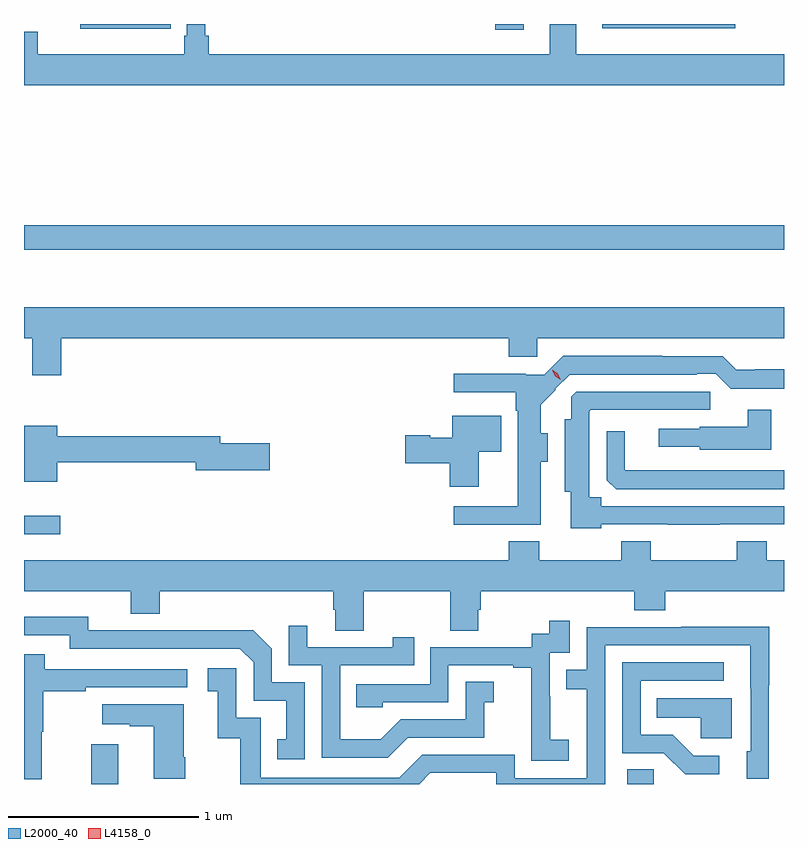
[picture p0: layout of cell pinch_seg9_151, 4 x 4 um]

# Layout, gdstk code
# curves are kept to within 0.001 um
import gdstk
lib = gdstk.Library(unit=1e-6, precision=1e-09)
def R(c, l, rs):  # rectangles x0, y0, x1, y1
    for r in rs: c.add(gdstk.rectangle(r[:2], r[2:], *l))
def P(c, l, *ps):  # polygons
    for p in ps: c.add(gdstk.Polygon(p, *l))
L2000_40 = (2000, 40)
L4158_0 = (4158, 0)

pinch_seg9_151 = lib.new_cell('pinch_seg9_151')
R(pinch_seg9_151, L2000_40, [(754.871,1187.414,755.011,1187.623), (757.691,1187.414,757.83,1187.492), (754.516,1188.728,754.708,1188.825), (754.516,1190.226,758.516,1190.354), (756.995,1191.384,757.147,1191.414), (757.559,1191.392,758.26,1191.414)])
P(pinch_seg9_151, L2000_40, [(755.18,1191.39),(755.288,1191.39),(755.288,1191.414),(754.812,1191.414),(754.812,1191.389),(755.18,1191.389)],
  [(758.516,1191.256),(757.423,1191.256),(757.423,1191.414),(757.283,1191.414),(757.283,1191.256),(755.489,1191.256),(755.489,1191.352),(755.47,1191.352),(755.47,1191.414),(755.373,1191.414),(755.373,1191.352),(755.36,1191.352),(755.36,1191.256),(754.588,1191.256),(754.588,1191.373),(754.516,1191.373),(754.516,1191.092),(758.516,1191.092)],
  [(754.516,1189.76),(754.559,1189.76),(754.559,1189.566),(754.712,1189.566),(754.712,1189.76),(757.067,1189.76),(757.067,1189.662),(757.218,1189.662),(757.218,1189.76),(758.516,1189.76),(758.516,1189.924),(754.516,1189.924)],
  [(757.237,1189.109),(757.273,1189.109),(757.273,1189.261),(757.237,1189.261),(757.237,1189.411),(757.315,1189.49),(757.313,1189.493),(757.389,1189.569),(758.057,1189.569),(758.057,1189.572),(758.157,1189.572),(758.236,1189.493),(758.516,1189.493),(758.516,1189.597),(758.365,1189.597),(758.365,1189.593),(758.265,1189.593),(758.193,1189.665),(757.875,1189.665),(757.875,1189.669),(757.353,1189.669),(757.253,1189.569),(757.157,1189.569),(757.157,1189.574),(756.777,1189.574),(756.777,1189.476),(757.103,1189.476),(757.103,1189.379),(757.115,1189.379),(757.115,1188.876),(756.777,1188.876),(756.777,1188.779),(757.237,1188.779)],
  [(757.554,1188.78),(758.516,1188.78),(758.516,1188.876),(757.555,1188.876),(757.555,1188.923),(757.492,1188.923),(757.491,1189.374),(757.5,1189.383),(758.128,1189.383),(758.128,1189.479),(757.422,1189.479),(757.395,1189.452),(757.395,1189.333),(757.361,1189.333),(757.361,1188.953),(757.394,1188.953),(757.394,1188.761),(757.554,1188.761)],
  [(758.449,1189.384),(758.324,1189.384),(758.324,1189.294),(758.073,1189.294),(758.073,1189.284),(757.857,1189.284),(757.857,1189.188),(758.073,1189.188),(758.073,1189.172),(758.449,1189.172)],
  [(756.91,1189.163),(757.027,1189.163),(757.027,1189.351),(756.77,1189.351),(756.77,1189.237),(756.654,1189.237),(756.654,1189.25),(756.522,1189.25),(756.522,1189.103),(756.758,1189.103),(756.758,1188.978),(756.91,1188.978)],
  [(754.69,1189.108),(755.42,1189.108),(755.42,1189.066),(755.809,1189.066),(755.809,1189.208),(755.548,1189.208),(755.548,1189.244),(754.69,1189.244),(754.69,1189.3),(754.516,1189.3),(754.516,1189.004),(754.69,1189.004)],
  [(758.516,1189.066),(757.679,1189.066),(757.679,1189.27),(757.584,1189.27),(757.584,1189.014),(757.633,1188.965),(758.516,1188.965)],
  [(756.303,1188.428),(756.76,1188.428),(756.76,1188.22),(756.907,1188.22),(756.907,1188.33),(756.92,1188.33),(756.92,1188.428),(757.727,1188.428),(757.727,1188.329),(757.892,1188.329),(757.892,1188.428),(758.516,1188.428),(758.516,1188.592),(758.426,1188.592),(758.426,1188.691),(758.266,1188.691),(758.266,1188.592),(757.815,1188.592),(757.815,1188.691),(757.66,1188.691),(757.66,1188.592),(757.227,1188.592),(757.227,1188.691),(757.067,1188.691),(757.067,1188.592),(754.516,1188.592),(754.516,1188.428),(755.078,1188.428),(755.078,1188.311),(755.231,1188.311),(755.231,1188.428),(756.143,1188.428),(756.143,1188.33),(756.155,1188.33),(756.155,1188.22),(756.303,1188.22)],
  [(755.994,1187.949),(755.82,1187.949),(755.82,1188.126),(755.722,1188.224),(755.314,1188.224),(755.314,1188.222),(754.854,1188.222),(754.854,1188.295),(754.516,1188.295),(754.516,1188.198),(754.758,1188.198),(754.758,1188.126),(755.652,1188.126),(755.724,1188.054),(755.724,1187.853),(755.897,1187.853),(755.897,1187.649),(755.848,1187.649),(755.848,1187.544),(755.994,1187.544)],
  [(757.384,1187.647),(757.286,1187.647),(757.286,1187.876),(757.284,1187.876),(757.284,1188.105),(757.389,1188.105),(757.389,1188.274),(757.281,1188.274),(757.281,1188.204),(757.188,1188.204),(757.188,1188.135),(756.654,1188.135),(756.654,1187.94),(756.265,1187.94),(756.265,1187.817),(756.405,1187.817),(756.405,1187.844),(756.75,1187.844),(756.75,1188.039),(757.091,1188.039),(757.091,1188.027),(757.187,1188.027),(757.187,1187.743),(757.186,1187.743),(757.186,1187.537),(757.384,1187.537)],
  [(756.535,1187.658),(756.939,1187.658),(756.939,1187.843),(756.988,1187.843),(756.988,1187.953),(756.84,1187.953),(756.84,1187.754),(756.498,1187.754),(756.394,1187.65),(756.18,1187.65),(756.18,1188.039),(756.569,1188.039),(756.569,1188.187),(756.458,1188.187),(756.458,1188.135),(756.007,1188.135),(756.007,1188.247),(755.91,1188.247),(755.91,1188.039),(756.084,1188.039),(756.084,1187.553),(756.43,1187.553)],
  [(756.654,1187.472),(757.001,1187.472),(757.001,1187.414),(757.575,1187.414),(757.575,1188.144),(758.339,1188.144),(758.34,1187.586),(758.321,1187.586),(758.321,1187.442),(758.436,1187.442),(758.436,1187.935),(758.439,1187.935),(758.439,1188.242),(757.975,1188.242),(757.975,1188.24),(757.479,1188.24),(757.479,1188.015),(757.369,1188.015),(757.369,1187.914),(757.479,1187.914),(757.479,1187.445),(757.098,1187.445),(757.098,1187.568),(756.612,1187.568),(756.492,1187.448),(755.763,1187.448),(755.763,1187.763),(755.634,1187.763),(755.634,1188.022),(755.484,1188.022),(755.484,1187.901),(755.537,1187.901),(755.537,1187.655),(755.655,1187.655),(755.655,1187.414),(756.596,1187.414)],
  [(754.61,1187.688),(754.618,1187.688),(754.618,1187.902),(754.841,1187.902),(754.841,1187.922),(755.374,1187.922),(755.374,1188.018),(754.625,1188.018),(754.625,1188.097),(754.516,1188.097),(754.516,1187.439),(754.61,1187.439)],
  [(758.176,1187.562),(758.041,1187.562),(757.93,1187.673),(757.761,1187.673),(757.761,1187.958),(758.2,1187.958),(758.2,1188.054),(757.665,1188.054),(757.665,1187.577),(757.884,1187.577),(757.997,1187.465),(758.176,1187.465)],
  [(758.242,1187.866),(757.846,1187.866),(757.846,1187.762),(758.077,1187.762),(758.077,1187.654),(758.242,1187.654)],
  [(755.364,1187.554),(755.356,1187.554),(755.356,1187.833),(754.929,1187.833),(754.929,1187.729),(755.072,1187.729),(755.072,1187.719),(755.198,1187.719),(755.198,1187.442),(755.364,1187.442)])
P(pinch_seg9_151, L4158_0, [(757.341,1189.541),(757.311,1189.561),(757.295,1189.593),(757.295,1189.593),(757.295,1189.593),(757.326,1189.574),(757.341,1189.542),(757.341,1189.541)])

lib.write_gds('pinch_seg9_151.gds')
